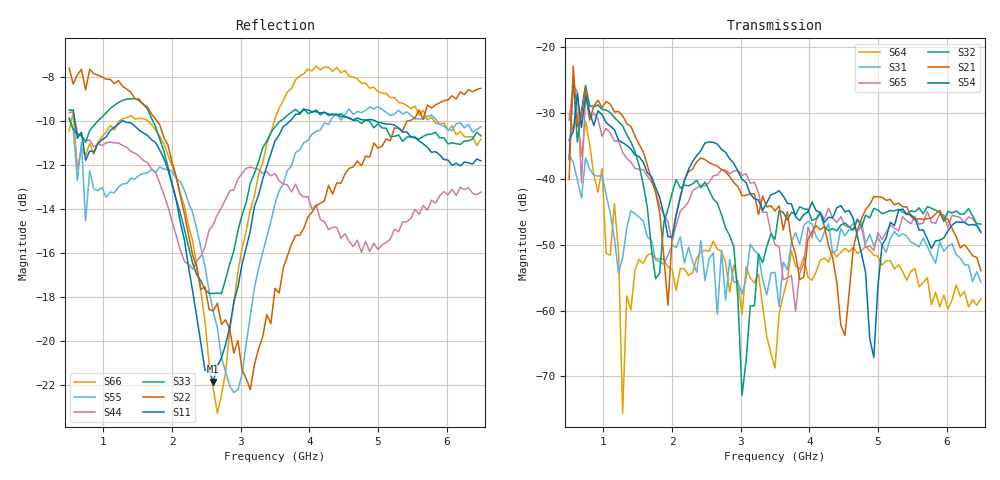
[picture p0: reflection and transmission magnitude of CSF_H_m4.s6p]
!Keysight Technologies,M9804A,MY58100912,A.14.10.03
!Date: Thursday, April 27, 2023 10:28:33
!Correction: S11(C  6-Port  )
!S12(C  6-Port  )
!S13(C  6-Port  )
!S14(C  6-Port  )
!S15(C  6-Port  )
!S16(C  6-Port  )
!S21(C  6-Port  )
!S22(C  6-Port  )
!S23(C  6-Port  )
!S24(C  6-Port  )
!S25(C  6-Port  )
!S26(C  6-Port  )
!S31(C  6-Port  )
!S32(C  6-Port  )
!S33(C  6-Port  )
!S34(C  6-Port  )
!S35(C  6-Port  )
!S36(C  6-Port  )
!S41(C  6-Port  )
!S42(C  6-Port  )
!S43(C  6-Port  )
!S44(C  6-Port  )
!S45(C  6-Port  )
!S46(C  6-Port  )
!S51(C  6-Port  )
!S52(C  6-Port  )
!S53(C  6-Port  )
!S54(C  6-Port  )
!S55(C  6-Port  )
!S56(C  6-Port  )
!S61(C  6-Port  )
!S62(C  6-Port  )
!S63(C  6-Port  )
!S64(C  6-Port  )
!S65(C  6-Port  )
!S66(C  6-Port  )
!S6P File: Measurement: :
# Hz S  RI  R 50
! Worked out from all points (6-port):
!   101 points, 500 MHz to 6.5 GHz, reference 50 ohm
!   strongest paths, dB at 500 MHz, 2 GHz, 3.5 GHz, 5 GHz, 6.5 GHz:
!     S54: -34.1, -48.9, -42.2, -56.3, -48.1
!     S21: -40.1, -49.1, -44.9, -42.7, -53.9
!     S32: -37.1, -42.2, -49.1, -44.7, -46.9
!     S65: -31.1, -49.5, -50.0, -48.2, -48.0
!     S31: -36.4, -50.0, -54.2, -48.9, -55.7
!     S64: -30.2, -53.7, -68.7, -51.7, -58.2
!   lowest |S11| = -21.8 dB at 2.6 GHz (marker M1), VSWR 1.18, Z = 42.7 + j1.91 ohm
!   |S11| at or under -10 dB: 582.9 MHz to 1.274 GHz (691.3 MHz wide, 74.4 % of centre); 1.29 GHz to 3.72 GHz (2.43 GHz wide, 97 % of centre); 4.961 GHz to end of sweep
